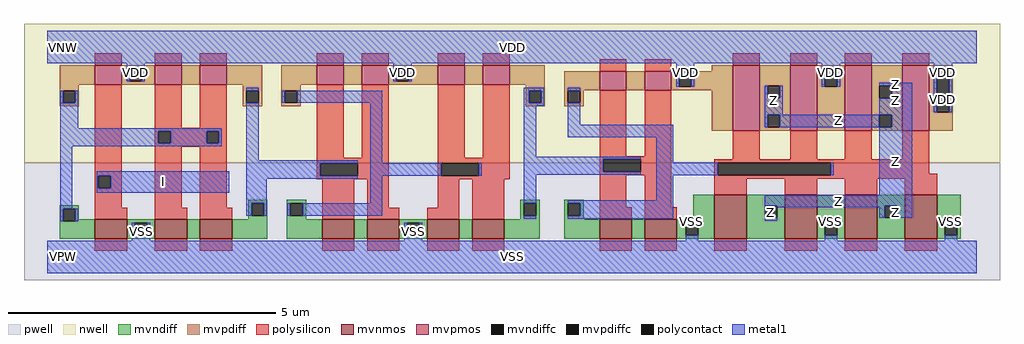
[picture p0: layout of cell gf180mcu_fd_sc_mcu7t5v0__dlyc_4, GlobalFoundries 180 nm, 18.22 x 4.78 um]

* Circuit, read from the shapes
.subckt gf180mcu_fd_sc_mcu7t5v0__dlyc_4 I Z VDD VNW VPW VSS
XM1 VSS I n1 VPW nfet_06v0 w=0.36u l=0.6u
XM2 n2 n1 VSS VPW nfet_06v0 w=0.36u l=0.6u
XM3 n3 n1 n2 VPW nfet_06v0 w=0.36u l=0.6u
XM4 n4 n3 n5 VPW nfet_06v0 w=0.36u l=0.6u
XM5 VSS n3 n4 VPW nfet_06v0 w=0.36u l=0.6u
XM6 n6 n5 VSS VPW nfet_06v0 w=0.36u l=0.6u
XM7 n7 n5 n6 VPW nfet_06v0 w=0.36u l=0.6u
XM8 n8 n7 n9 VPW nfet_06v0 w=0.365u l=0.6u
XM9 VSS n7 n8 VPW nfet_06v0 w=0.365u l=0.6u
XM10 Z n9 VSS VPW nfet_06v0 w=0.82u l=0.6u m=4
XM11 VDD I n1 VNW pfet_06v0 w=0.36u l=0.5u
XM12 n10 n1 VDD VNW pfet_06v0 w=0.36u l=0.5u
XM13 n3 n1 n10 VNW pfet_06v0 w=0.36u l=0.5u
XM14 n11 n3 n5 VNW pfet_06v0 w=0.36u l=0.5u
XM15 VDD n3 n11 VNW pfet_06v0 w=0.36u l=0.5u
XM16 n12 n5 VDD VNW pfet_06v0 w=0.36u l=0.5u
XM17 n7 n5 n12 VNW pfet_06v0 w=0.36u l=0.5u
XM18 n13 n7 n9 VNW pfet_06v0 w=0.36u l=0.5u
XM19 VDD n7 n13 VNW pfet_06v0 w=0.36u l=0.5u
XM20 Z n9 VDD VNW pfet_06v0 w=1.22u l=0.5u m=4
.ends

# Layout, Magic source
magic
tech gf180mcuD
magscale 1 10
<< nwell >>
rect -86 352 3558 870
<< pwell >>
rect -86 -86 3558 352
<< mvnmos >>
rect 179 68 299 140
rect 403 68 523 140
rect 571 68 691 140
rect 1027 68 1147 140
rect 1195 68 1315 140
rect 1419 68 1539 140
rect 1587 68 1707 140
rect 2063 68 2183 141
rect 2231 68 2351 141
rect 2492 68 2612 232
rect 2755 68 2875 232
rect 2979 68 3099 232
rect 3203 68 3323 232
<< mvpmos >>
rect 179 644 279 716
rect 403 644 503 716
rect 571 644 671 716
rect 1007 644 1107 716
rect 1175 644 1275 716
rect 1459 644 1559 716
rect 1627 644 1727 716
rect 2063 622 2163 694
rect 2231 622 2331 694
rect 2561 472 2661 716
rect 2775 472 2875 716
rect 2979 472 3079 716
rect 3193 472 3293 716
<< mvndiff >>
rect 47 180 119 193
rect 47 134 60 180
rect 106 140 119 180
rect 751 200 823 213
rect 751 154 764 200
rect 810 154 823 200
rect 751 140 823 154
rect 106 134 179 140
rect 47 68 179 134
rect 299 127 403 140
rect 299 81 328 127
rect 374 81 403 127
rect 299 68 403 81
rect 523 68 571 140
rect 691 68 823 140
rect 895 200 967 213
rect 895 154 908 200
rect 954 154 967 200
rect 895 140 967 154
rect 1767 200 1839 213
rect 1767 154 1780 200
rect 1826 154 1839 200
rect 1767 140 1839 154
rect 895 68 1027 140
rect 1147 68 1195 140
rect 1315 127 1419 140
rect 1315 81 1344 127
rect 1390 81 1419 127
rect 1315 68 1419 81
rect 1539 68 1587 140
rect 1707 68 1839 140
rect 1931 200 2003 213
rect 1931 154 1944 200
rect 1990 154 2003 200
rect 1931 141 2003 154
rect 2412 141 2492 232
rect 1931 68 2063 141
rect 2183 68 2231 141
rect 2351 128 2492 141
rect 2351 82 2385 128
rect 2431 82 2492 128
rect 2351 68 2492 82
rect 2612 192 2755 232
rect 2612 146 2680 192
rect 2726 146 2755 192
rect 2612 68 2755 146
rect 2875 128 2979 232
rect 2875 82 2904 128
rect 2950 82 2979 128
rect 2875 68 2979 82
rect 3099 192 3203 232
rect 3099 146 3128 192
rect 3174 146 3203 192
rect 3099 68 3203 146
rect 3323 128 3411 232
rect 3323 82 3352 128
rect 3398 82 3411 128
rect 3323 68 3411 82
<< mvpdiff >>
rect 47 644 179 716
rect 279 703 403 716
rect 279 657 308 703
rect 354 657 403 703
rect 279 644 403 657
rect 503 644 571 716
rect 671 644 803 716
rect 47 621 119 644
rect 47 575 60 621
rect 106 575 119 621
rect 47 562 119 575
rect 731 621 803 644
rect 731 575 744 621
rect 790 575 803 621
rect 731 562 803 575
rect 875 644 1007 716
rect 1107 644 1175 716
rect 1275 703 1459 716
rect 1275 657 1304 703
rect 1350 657 1459 703
rect 1275 644 1459 657
rect 1559 644 1627 716
rect 1727 644 1859 716
rect 2481 694 2561 716
rect 875 621 947 644
rect 875 575 888 621
rect 934 575 947 621
rect 875 562 947 575
rect 1787 621 1859 644
rect 1787 575 1800 621
rect 1846 575 1859 621
rect 1787 562 1859 575
rect 1931 622 2063 694
rect 2163 622 2231 694
rect 2331 681 2561 694
rect 2331 635 2360 681
rect 2406 635 2561 681
rect 2331 622 2561 635
rect 1931 621 2003 622
rect 1931 575 1944 621
rect 1990 575 2003 621
rect 1931 562 2003 575
rect 2481 472 2561 622
rect 2661 639 2775 716
rect 2661 593 2690 639
rect 2736 593 2775 639
rect 2661 531 2775 593
rect 2661 485 2690 531
rect 2736 485 2775 531
rect 2661 472 2775 485
rect 2875 681 2979 716
rect 2875 635 2904 681
rect 2950 635 2979 681
rect 2875 472 2979 635
rect 3079 639 3193 716
rect 3079 593 3108 639
rect 3154 593 3193 639
rect 3079 531 3193 593
rect 3079 485 3108 531
rect 3154 485 3193 531
rect 3079 472 3193 485
rect 3293 681 3381 716
rect 3293 541 3322 681
rect 3368 541 3381 681
rect 3293 472 3381 541
<< mvndiffc >>
rect 60 134 106 180
rect 764 154 810 200
rect 328 81 374 127
rect 908 154 954 200
rect 1780 154 1826 200
rect 1344 81 1390 127
rect 1944 154 1990 200
rect 2385 82 2431 128
rect 2680 146 2726 192
rect 2904 82 2950 128
rect 3128 146 3174 192
rect 3352 82 3398 128
<< mvpdiffc >>
rect 308 657 354 703
rect 60 575 106 621
rect 744 575 790 621
rect 1304 657 1350 703
rect 888 575 934 621
rect 1800 575 1846 621
rect 2360 635 2406 681
rect 1944 575 1990 621
rect 2690 593 2736 639
rect 2690 485 2736 531
rect 2904 635 2950 681
rect 3108 593 3154 639
rect 3108 485 3154 531
rect 3322 541 3368 681
<< polysilicon >>
rect 179 716 279 760
rect 403 716 503 760
rect 571 716 671 760
rect 1007 716 1107 760
rect 1175 716 1275 760
rect 1459 716 1559 760
rect 1627 716 1727 760
rect 179 303 279 644
rect 179 257 192 303
rect 238 257 279 303
rect 179 184 279 257
rect 403 483 503 644
rect 571 483 671 644
rect 2063 694 2163 738
rect 2231 694 2331 738
rect 2561 716 2661 760
rect 2775 716 2875 760
rect 2979 716 3079 760
rect 3193 716 3293 760
rect 403 470 671 483
rect 403 424 416 470
rect 462 424 596 470
rect 642 424 671 470
rect 403 411 671 424
rect 403 184 503 411
rect 571 184 671 411
rect 1007 371 1107 644
rect 1175 371 1275 644
rect 1007 350 1275 371
rect 1007 304 1020 350
rect 1160 304 1275 350
rect 1007 290 1275 304
rect 179 140 299 184
rect 403 140 523 184
rect 571 140 691 184
rect 1027 140 1147 290
rect 1195 184 1275 290
rect 1459 371 1559 644
rect 1627 371 1727 644
rect 1459 350 1727 371
rect 1459 304 1472 350
rect 1612 304 1727 350
rect 1459 290 1727 304
rect 2063 377 2163 622
rect 2231 377 2331 622
rect 2063 364 2331 377
rect 2561 365 2661 472
rect 2775 365 2875 472
rect 2979 365 3079 472
rect 3193 365 3293 472
rect 2063 318 2076 364
rect 2216 318 2331 364
rect 2063 305 2331 318
rect 1459 184 1539 290
rect 1195 140 1315 184
rect 1419 140 1539 184
rect 1587 140 1707 290
rect 2063 185 2163 305
rect 2231 185 2331 305
rect 2492 352 3293 365
rect 2492 306 2505 352
rect 2927 311 3293 352
rect 2927 306 3323 311
rect 2492 292 3323 306
rect 2492 232 2612 292
rect 2755 232 2875 292
rect 2979 232 3099 292
rect 3203 232 3323 292
rect 2063 141 2183 185
rect 2231 141 2351 185
rect 179 24 299 68
rect 403 24 523 68
rect 571 24 691 68
rect 1027 24 1147 68
rect 1195 24 1315 68
rect 1419 24 1539 68
rect 1587 24 1707 68
rect 2063 24 2183 68
rect 2231 24 2351 68
rect 2492 24 2612 68
rect 2755 24 2875 68
rect 2979 24 3099 68
rect 3203 24 3323 68
<< polycontact >>
rect 192 257 238 303
rect 416 424 462 470
rect 596 424 642 470
rect 1020 304 1160 350
rect 1472 304 1612 350
rect 2076 318 2216 364
rect 2505 306 2927 352
<< metal1 >>
rect 0 724 3472 844
rect 297 703 365 724
rect 297 657 308 703
rect 354 657 365 703
rect 1293 703 1361 724
rect 1293 657 1304 703
rect 1350 657 1361 703
rect 2349 681 2417 724
rect 2349 635 2360 681
rect 2406 635 2417 681
rect 2893 681 2961 724
rect 744 621 790 632
rect 1780 621 1857 632
rect 49 575 60 621
rect 106 575 117 621
rect 49 481 117 575
rect 877 575 888 621
rect 934 575 1252 621
rect 49 470 653 481
rect 49 424 416 470
rect 462 424 596 470
rect 642 424 653 470
rect 49 413 653 424
rect 49 180 95 413
rect 744 361 790 575
rect 744 350 1160 361
rect 186 303 681 320
rect 186 257 192 303
rect 238 257 681 303
rect 186 240 681 257
rect 744 304 1020 350
rect 744 293 1160 304
rect 1206 350 1252 575
rect 1780 575 1800 621
rect 1846 575 1857 621
rect 1780 564 1857 575
rect 1944 621 1990 632
rect 1780 375 1826 564
rect 1944 493 1990 575
rect 2679 593 2690 639
rect 2736 593 2747 639
rect 2893 635 2904 681
rect 2950 635 2961 681
rect 3311 681 3379 724
rect 3108 639 3230 651
rect 2679 532 2747 593
rect 3154 593 3230 639
rect 3108 532 3230 593
rect 3311 541 3322 681
rect 3368 541 3379 681
rect 2679 531 3230 532
rect 1944 447 2338 493
rect 2679 485 2690 531
rect 2736 485 3108 531
rect 3154 485 3230 531
rect 1780 364 2216 375
rect 1206 304 1472 350
rect 1612 304 1623 350
rect 1780 318 2076 364
rect 1780 307 2216 318
rect 2274 352 2338 447
rect 744 200 821 293
rect 1206 200 1252 304
rect 49 134 60 180
rect 106 134 117 180
rect 744 154 764 200
rect 810 154 821 200
rect 897 154 908 200
rect 954 154 1252 200
rect 1780 200 1826 307
rect 2274 306 2505 352
rect 2927 306 2938 352
rect 2274 211 2338 306
rect 3108 231 3230 485
rect 1780 143 1826 154
rect 1944 200 2338 211
rect 1990 154 2338 200
rect 1944 143 2338 154
rect 2679 192 3230 231
rect 2679 146 2680 192
rect 2726 185 3128 192
rect 3108 146 3128 185
rect 3174 146 3230 192
rect 2385 128 2431 139
rect 2679 135 2726 146
rect 317 81 328 127
rect 374 81 385 127
rect 317 60 385 81
rect 1333 81 1344 127
rect 1390 81 1401 127
rect 1333 60 1401 81
rect 2385 60 2431 82
rect 2904 128 2950 139
rect 2904 60 2950 82
rect 3352 128 3398 139
rect 3352 60 3398 82
rect 0 -60 3472 60
<< labels >>
flabel metal1 s 3108 639 3230 651 0 FreeSans 400 0 0 0 Z
port 2 nsew default output
flabel metal1 s 3352 127 3398 139 0 FreeSans 400 0 0 0 VSS
port 6 nsew ground bidirectional abutment
flabel metal1 s 186 240 681 320 0 FreeSans 400 0 0 0 I
port 1 nsew default input
flabel metal1 s 0 724 3472 844 0 FreeSans 400 0 0 0 VDD
port 3 nsew power bidirectional abutment
flabel nwell s 10 734 110 834 0 FreeSans 400 0 0 0 VNW
port 4 nsew power bidirectional
flabel pwell s 10 -50 110 50 0 FreeSans 400 0 0 0 VPW
port 5 nsew ground bidirectional
rlabel metal1 s 3108 532 3230 639 1 Z
port 2 nsew default output
rlabel metal1 s 2679 532 2747 639 1 Z
port 2 nsew default output
rlabel metal1 s 2679 485 3230 532 1 Z
port 2 nsew default output
rlabel metal1 s 3108 231 3230 485 1 Z
port 2 nsew default output
rlabel metal1 s 2679 185 3230 231 1 Z
port 2 nsew default output
rlabel metal1 s 3108 146 3230 185 1 Z
port 2 nsew default output
rlabel metal1 s 2679 146 2726 185 1 Z
port 2 nsew default output
rlabel metal1 s 2679 135 2726 146 1 Z
port 2 nsew default output
rlabel metal1 s 3311 657 3379 724 1 VDD
port 3 nsew power bidirectional abutment
rlabel metal1 s 2893 657 2961 724 1 VDD
port 3 nsew power bidirectional abutment
rlabel metal1 s 2349 657 2417 724 1 VDD
port 3 nsew power bidirectional abutment
rlabel metal1 s 1293 657 1361 724 1 VDD
port 3 nsew power bidirectional abutment
rlabel metal1 s 297 657 365 724 1 VDD
port 3 nsew power bidirectional abutment
rlabel metal1 s 3311 635 3379 657 1 VDD
port 3 nsew power bidirectional abutment
rlabel metal1 s 2893 635 2961 657 1 VDD
port 3 nsew power bidirectional abutment
rlabel metal1 s 2349 635 2417 657 1 VDD
port 3 nsew power bidirectional abutment
rlabel metal1 s 3311 541 3379 635 1 VDD
port 3 nsew power bidirectional abutment
rlabel metal1 s 2904 127 2950 139 1 VSS
port 6 nsew ground bidirectional abutment
rlabel metal1 s 2385 127 2431 139 1 VSS
port 6 nsew ground bidirectional abutment
rlabel metal1 s 3352 60 3398 127 1 VSS
port 6 nsew ground bidirectional abutment
rlabel metal1 s 2904 60 2950 127 1 VSS
port 6 nsew ground bidirectional abutment
rlabel metal1 s 2385 60 2431 127 1 VSS
port 6 nsew ground bidirectional abutment
rlabel metal1 s 1333 60 1401 127 1 VSS
port 6 nsew ground bidirectional abutment
rlabel metal1 s 317 60 385 127 1 VSS
port 6 nsew ground bidirectional abutment
rlabel metal1 s 0 -60 3472 60 1 VSS
port 6 nsew ground bidirectional abutment
<< properties >>
string FIXED_BBOX 0 0 3472 784
string GDS_END 1122016
string GDS_FILE $PDKPATH/libs.ref/gf180mcu_fd_sc_mcu7t5v0/gds/gf180mcu_fd_sc_mcu7t5v0.gds
string GDS_START 1115372
string LEFclass core
string LEFsite GF018hv5v_mcu_sc7
string LEFsymmetry X Y
<< end >>
